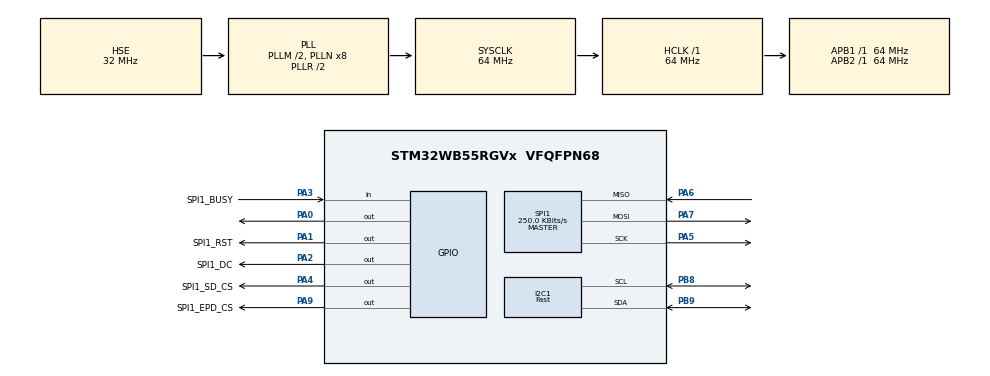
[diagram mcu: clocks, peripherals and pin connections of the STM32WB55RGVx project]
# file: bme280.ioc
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I2C1.I2C_Speed_Mode=I2C_Fast
I2C1.Timing=0x00C12166
Mcu.Family=STM32WB
Mcu.Name=STM32WB55RGVx
Mcu.Package=VFQFPN68
NUCLEO-WB55RG.BUTTON=1
NUCLEO-WB55RG.BUTTON2=1
NUCLEO-WB55RG.BUTTON3=1
NUCLEO-WB55RG.LD1=true
NUCLEO-WB55RG.LD2=true
NUCLEO-WB55RG.LD3=true
NUCLEO-WB55RG.VCP=true
NVIC.EXTI0_IRQn=true\:0\:0\:false\:false\:true\:false\:true\:true
NVIC.EXTI1_IRQn=true\:0\:0\:false\:false\:true\:false\:true\:true
NVIC.EXTI4_IRQn=true\:0\:0\:false\:false\:true\:false\:true\:true
NVIC.PriorityGroup=NVIC_PRIORITYGROUP_4
OSC_IN.GPIO_Label=RCC_OSC_IN
OSC_IN.Mode=HSE-External-Oscillator
OSC_IN.Signal=RCC_OSC_IN
OSC_OUT.GPIO_Label=RCC_OSC_OUT
OSC_OUT.Mode=HSE-External-Oscillator
OSC_OUT.Signal=RCC_OSC_OUT
PA0.Signal=GPIO_Output
PA1.GPIO_Label=SPI1_RST
PA1.Signal=GPIO_Output
PA11.GPIO_Label=USB_DM
PA11.Signal=USB_DM
PA12.GPIO_Label=USB_DP
PA12.Signal=USB_DP
PA13.GPIO_Label=JTMS
PA13.Signal=SYS_JTMS-SWDIO
PA14.GPIO_Label=JTCK
PA14.Signal=SYS_JTCK-SWCLK
PA2.GPIO_Label=SPI1_DC
PA2.Signal=GPIO_Output
PA3.GPIO_Label=SPI1_BUSY
PA3.Signal=GPIO_Input
PA4.GPIO_Label=SPI1_SD_CS
PA4.GPIO_PuPd=GPIO_PULLUP
PA4.PinState=GPIO_PIN_SET
PA4.Signal=GPIO_Output
PA5.Mode=Full_Duplex_Master
PA5.Signal=SPI1_SCK
PA6.Mode=Full_Duplex_Master
PA6.Signal=SPI1_MISO
PA7.Mode=Full_Duplex_Master
PA7.Signal=SPI1_MOSI
PA9.GPIO_Label=SPI1_EPD_CS
PA9.Signal=GPIO_Output
PB3.GPIO_Label=JTDO
PB3.Signal=SYS_JTDO-SWO
PB6.Signal=USART1_TX
PB7.Signal=USART1_RX
PB8.GPIO_FM8=SYSCFG_FASTMODEPLUS_PB8
PB8.Mode=I2C
PB8.Signal=I2C1_SCL
PB9.GPIO_FM9=SYSCFG_FASTMODEPLUS_PB9
PB9.Mode=I2C
PB9.Signal=I2C1_SDA
PC13.GPIO_Label=SYS_WKUP2
PC13.Signal=SYS_WKUP2
PC14-OSC32_IN.GPIO_Label=RCC_OSC32_IN
PC14-OSC32_IN.Mode=LSE-External-Oscillator
PC14-OSC32_IN.Signal=RCC_OSC32_IN
PC15-OSC32_OUT.GPIO_Label=RCC_OSC32_OUT
PC15-OSC32_OUT.Mode=LSE-External-Oscillator
PC15-OSC32_OUT.Signal=RCC_OSC32_OUT
ProjectManager.HeapSize=0x200
ProjectManager.StackSize=0x400
ProjectManager.TargetToolchain=CMake
RCC.ADCFreq_Value=64000000
RCC.AHB2CLKDivider=RCC_SYSCLK_DIV2
RCC.AHBFreq_Value=64000000
RCC.APB1Freq_Value=64000000
RCC.APB1TimFreq_Value=64000000
RCC.APB2Freq_Value=64000000
RCC.APB2TimFreq_Value=64000000
RCC.APB3Freq_Value=16000000
RCC.CortexFreq_Value=64000000
RCC.HCLKFreq_Value=64000000
RCC.HSE_VALUE=32000000
RCC.HSI48_VALUE=48000000
RCC.HSI_VALUE=16000000
RCC.MSIClockRange=RCC_MSIRANGE_10
RCC.PLLM=RCC_PLLM_DIV2
RCC.PLLSourceVirtual=RCC_PLLSOURCE_HSE
RCC.SMPSCLockSelection=RCC_SMPSCLKSOURCE_HSI
RCC.SMPSCLockSelectionVirtual=RCC_SMPSCLKSOURCE_HSI
RCC.SMPSCLockSelectionVirtualVirtual=RCC_SMPSCLKSOURCE_HSI
RCC.SMPSDivider=1
RCC.SYSCLKFreq_VALUE=64000000
RCC.SYSCLKSource=RCC_SYSCLKSOURCE_PLLCLK
RCC.USBFreq_Value=64000000
RCC.VCOOutputFreq_Value=128000000
SPI1.BaudRatePrescaler=SPI_BAUDRATEPRESCALER_256
SPI1.CalculateBaudRate=250.0 KBits/s
SPI1.DataSize=SPI_DATASIZE_8BIT
SPI1.Direction=SPI_DIRECTION_2LINES
SPI1.Mode=SPI_MODE_MASTER
SPI1.VirtualType=VM_MASTER
VP_MEMORYMAP_VS_MEMORYMAP.Mode=CurAppReg
VP_NUCLEO-WB55RG_VS_BSP_COMMON.Mode=COMMON
board=NUCLEO-WB55RG

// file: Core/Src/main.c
/* USER CODE BEGIN Header */
/**
  ******************************************************************************
  * @file           : main.c
  * @brief           : Main program body - sensor data on e-paper display
  ******************************************************************************
  ******************************************************************************
  */
/* USER CODE END Header */
#include "main.h"

/* USER CODE BEGIN Includes */
#include "bme280.h"
#include "mpu6050.h"
#include "veml7700.h"
#include "minimal_display.h"
#include "DEV_Config.h"
#include "EPD_2in9_V2.h"
#include "GUI_Paint.h"
#include "data_logger.h"
#include "app_fatfs.h"
#include <stdio.h>
#include <stdlib.h>
#include <math.h>
/* USER CODE END Includes */

/* USER CODE BEGIN PD */
/* runtime-configurable intervals (ms); will be settable via BLE */
static uint32_t meas_interval  = 10000;  /* sensor read + SD log */
static uint32_t disp_interval  = 10000;  /* e-paper refresh (temp: match meas) */
#define BME280_ADDR      (0x76 << 1)
/* USER CODE END PD */

COM_InitTypeDef BspCOMInit;
I2C_HandleTypeDef hi2c1;

SPI_HandleTypeDef hspi1;

/* USER CODE BEGIN PV */
BME280_Data_t bme280_data = {0};
MPU6050_Data_t mpu6050_data = {0};
VEML7700_Data_t veml7700_data = {0};
int bme280_ready = 0;
int mpu6050_ready = 0;
int veml7700_ready = 0;
/* USER CODE END PV */

void SystemClock_Config(void);
void PeriphCommonClock_Config(void);
static void MX_GPIO_Init(void);
static void MX_I2C1_Init(void);
static void MX_SPI1_Init(void);

int main(void)
{

  /* MCU Configuration--------------------------------------------------------*/

  /* Reset of all peripherals, Initializes the Flash interface and the Systick. */
  HAL_Init();

  /* Configure the system clock */
  SystemClock_Config();

  /* Configure the peripherals common clocks */
  PeriphCommonClock_Config();

  /* Initialize all configured peripherals */
  MX_GPIO_Init();
  MX_I2C1_Init();
  MX_SPI1_Init();
  /* USER CODE BEGIN 2 */

  HAL_GPIO_WritePin(SPI1_EPD_CS_GPIO_Port, SPI1_EPD_CS_Pin, GPIO_PIN_SET);
  HAL_GPIO_WritePin(SPI1_SD_CS_GPIO_Port, SPI1_SD_CS_Pin, GPIO_PIN_SET);

  BSP_LED_Init(LED_RED);   /* error indicator only */

  BspCOMInit.BaudRate   = 115200;
  BspCOMInit.WordLength = COM_WORDLENGTH_8B;
  BspCOMInit.StopBits   = COM_STOPBITS_1;
  BspCOMInit.Parity     = COM_PARITY_NONE;
  BspCOMInit.HwFlowCtl  = COM_HWCONTROL_NONE;
  if (BSP_COM_Init(COM1, &BspCOMInit) != BSP_ERROR_NONE)
  {
    Error_Handler();
  }

  printf("\r\n=== Tree Sentinel ===\r\n");

  /* ---- FatFS init ---- */
  if (MX_FATFS_Init() != APP_OK) {
    printf("FATFS_Init FAILED\r\n");
    Error_Handler();
  }
  printf("FATFS driver linked OK\r\n");

  /* ---- SD / data logger ---- */
  if (LOG_Init() == 0) {
    printf("SD card + CSV logger ready\r\n");
  } else {
    printf("No SD card — logging disabled\r\n");
  }

  /* ---- Sensor init ---- */
  int bme280_ok = (bme280_init(&hi2c1, BME280_ADDR) == HAL_OK);
  int mpu6050_ok = (MPU6050_Init(&hi2c1) == HAL_OK);
  int veml7700_ok = (VEML7700_Init(&hi2c1) == HAL_OK);
  printf("Sensors: BME280=%d MPU6050=%d VEML7700=%d\r\n",
         bme280_ok, mpu6050_ok, veml7700_ok);

  /* ---- EPD init ---- */
  DEV_Module_Init();
  DEV_Delay_ms(1000);
  printf("EPD ready\r\n");

  /* ---- Tilt: calibrate reference at startup (board upright) ---- */
  MPU6050_Data_t mpu_data;
  float tilt_ref[3] = {0, 0, 0}, tilt_deg = 0.0f;
  if (mpu6050_ok) {
    MPU6050_ReadData(&hi2c1, &mpu_data);
    tilt_ref[0] = (float)mpu_data.ax / 16384.0f;
    tilt_ref[1] = (float)mpu_data.ay / 16384.0f;
    tilt_ref[2] = (float)mpu_data.az / 16384.0f;
  }

  uint32_t last_meas = 0, last_disp = 0;
  float temp = 0, hum = 0, lux = 0;
  uint32_t pres = 0;
  VEML7700_Data_t vdata = {0};

  /* USER CODE END 2 */

  /* Infinite loop */
  /* USER CODE BEGIN WHILE */
  while (1)
  {
    uint32_t now = HAL_GetTick();

    /* ---- read sensors + log SD (every meas_interval) ---- */
    if (now - last_meas >= meas_interval)
    {
      last_meas = now;

      /* BME280 */
      if (bme280_ok) {
        bme280_read_compensated(&hi2c1, BME280_ADDR, &temp, &pres, &hum);
      }

      /* MPU-6050 tilt */
      if (mpu6050_ok) {
        MPU6050_ReadData(&hi2c1, &mpu_data);
        float ax = (float)mpu_data.ax / 16384.0f;
        float ay = (float)mpu_data.ay / 16384.0f;
        float az = (float)mpu_data.az / 16384.0f;
        float dot = ax*tilt_ref[0] + ay*tilt_ref[1] + az*tilt_ref[2];
        float na = sqrtf(ax*ax + ay*ay + az*az);
        float nr = sqrtf(tilt_ref[0]*tilt_ref[0]
                       + tilt_ref[1]*tilt_ref[1]
                       + tilt_ref[2]*tilt_ref[2]);
        float cos_a = dot / (na * nr);
        if (cos_a > 1.0f) cos_a = 1.0f;
        if (cos_a < -1.0f) cos_a = -1.0f;
        tilt_deg = acosf(cos_a) * 57.29578f;
      }

      /* VEML7700 */
      if (veml7700_ok) {
        VEML7700_ReadALS(&hi2c1, &vdata);
        lux = vdata.lux;
      }

      /* restore SPI pins to AF mode (EPD bit-bangs them) */
      DEV_SPI_Init();

      /* Log to SD */
      BME280_Data_t bme = { .temperature = temp,
                            .pressure = pres,
                            .humidity = hum };
      LOG_Sample(&bme, tilt_deg, &vdata);
    }

    /* ---- refresh e-paper (every disp_interval) ---- */
    if (now - last_disp >= disp_interval)
    {
      last_disp = now;

      char l1[32], l2[32], l3[32], l4[32], l5[32];
      snprintf(l1, sizeof(l1), "Tree Sentinel");
      snprintf(l2, sizeof(l2), "T=%.1fC  P=%luPa", (double)temp, (unsigned long)pres);
      snprintf(l3, sizeof(l3), "H=%.0f%%  L=%.0flx", (double)hum, (double)lux);
      snprintf(l4, sizeof(l4), "Tilt=%.1fdeg", (double)tilt_deg);
      snprintf(l5, sizeof(l5), "SD:%s", LOG_IsReady() ? "OK" : "NO");
      Display_SensorData(l1, l2, l3, l4, l5);
    }

    /* USER CODE END WHILE */

  }
}

void SystemClock_Config(void)
{
  RCC_OscInitTypeDef RCC_OscInitStruct = {0};
  RCC_ClkInitTypeDef RCC_ClkInitStruct = {0};

  /** Configure the main internal regulator output voltage
  */
  __HAL_PWR_VOLTAGESCALING_CONFIG(PWR_REGULATOR_VOLTAGE_SCALE1);

  /** Initializes the RCC Oscillators according to the specified parameters
  * in the RCC_OscInitTypeDef structure.
  */
  RCC_OscInitStruct.OscillatorType = RCC_OSCILLATORTYPE_HSI|RCC_OSCILLATORTYPE_HSE;
  RCC_OscInitStruct.HSEState = RCC_HSE_ON;
  RCC_OscInitStruct.HSIState = RCC_HSI_ON;
  RCC_OscInitStruct.HSICalibrationValue = RCC_HSICALIBRATION_DEFAULT;
  RCC_OscInitStruct.PLL.PLLState = RCC_PLL_ON;
  RCC_OscInitStruct.PLL.PLLSource = RCC_PLLSOURCE_HSE;
  RCC_OscInitStruct.PLL.PLLM = RCC_PLLM_DIV2;
  RCC_OscInitStruct.PLL.PLLN = 8;
  RCC_OscInitStruct.PLL.PLLP = RCC_PLLP_DIV2;
  RCC_OscInitStruct.PLL.PLLR = RCC_PLLR_DIV2;
  RCC_OscInitStruct.PLL.PLLQ = RCC_PLLQ_DIV2;
  if (HAL_RCC_OscConfig(&RCC_OscInitStruct) != HAL_OK)
  {
    Error_Handler();
  }

  /** Configure the SYSCLKSource, HCLK, PCLK1 and PCLK2 clocks dividers
  */
  RCC_ClkInitStruct.ClockType = RCC_CLOCKTYPE_HCLK4|RCC_CLOCKTYPE_HCLK2
                              |RCC_CLOCKTYPE_HCLK|RCC_CLOCKTYPE_SYSCLK
                              |RCC_CLOCKTYPE_PCLK1|RCC_CLOCKTYPE_PCLK2;
  RCC_ClkInitStruct.SYSCLKSource = RCC_SYSCLKSOURCE_PLLCLK;
  RCC_ClkInitStruct.AHBCLKDivider = RCC_SYSCLK_DIV1;
  RCC_ClkInitStruct.APB1CLKDivider = RCC_HCLK_DIV1;
  RCC_ClkInitStruct.APB2CLKDivider = RCC_HCLK_DIV1;
  RCC_ClkInitStruct.AHBCLK2Divider = RCC_SYSCLK_DIV2;
  RCC_ClkInitStruct.AHBCLK4Divider = RCC_SYSCLK_DIV1;

  if (HAL_RCC_ClockConfig(&RCC_ClkInitStruct, FLASH_LATENCY_3) != HAL_OK)
  {
    Error_Handler();
  }
}

void PeriphCommonClock_Config(void)
{
  RCC_PeriphCLKInitTypeDef PeriphClkInitStruct = {0};

  /** Initializes the peripherals clock
  */
  PeriphClkInitStruct.PeriphClockSelection = RCC_PERIPHCLK_SMPS;
  PeriphClkInitStruct.SmpsClockSelection = RCC_SMPSCLKSOURCE_HSI;
  PeriphClkInitStruct.SmpsDivSelection = RCC_SMPSCLKDIV_RANGE0;

  if (HAL_RCCEx_PeriphCLKConfig(&PeriphClkInitStruct) != HAL_OK)
  {
    Error_Handler();
  }
}

static void MX_I2C1_Init(void)
{

  hi2c1.Instance = I2C1;
  hi2c1.Init.Timing = 0x00C12166;
  hi2c1.Init.OwnAddress1 = 0;
  hi2c1.Init.AddressingMode = I2C_ADDRESSINGMODE_7BIT;
  hi2c1.Init.DualAddressMode = I2C_DUALADDRESS_DISABLE;
  hi2c1.Init.OwnAddress2 = 0;
  hi2c1.Init.OwnAddress2Masks = I2C_OA2_NOMASK;
  hi2c1.Init.GeneralCallMode = I2C_GENERALCALL_DISABLE;
  hi2c1.Init.NoStretchMode = I2C_NOSTRETCH_DISABLE;
  if (HAL_I2C_Init(&hi2c1) != HAL_OK)
  {
    Error_Handler();
  }

  /** Configure Analogue filter
  */
  if (HAL_I2CEx_ConfigAnalogFilter(&hi2c1, I2C_ANALOGFILTER_ENABLE) != HAL_OK)
  {
    Error_Handler();
  }

  /** Configure Digital filter
  */
  if (HAL_I2CEx_ConfigDigitalFilter(&hi2c1, 0) != HAL_OK)
  {
    Error_Handler();
  }

}

static void MX_SPI1_Init(void)
{

  /* SPI1 parameter configuration*/
  hspi1.Instance = SPI1;
  hspi1.Init.Mode = SPI_MODE_MASTER;
  hspi1.Init.Direction = SPI_DIRECTION_2LINES;
  hspi1.Init.DataSize = SPI_DATASIZE_8BIT;
  hspi1.Init.CLKPolarity = SPI_POLARITY_LOW;
  hspi1.Init.CLKPhase = SPI_PHASE_1EDGE;
  hspi1.Init.NSS = SPI_NSS_SOFT;
  hspi1.Init.BaudRatePrescaler = SPI_BAUDRATEPRESCALER_256;
  hspi1.Init.FirstBit = SPI_FIRSTBIT_MSB;
  hspi1.Init.TIMode = SPI_TIMODE_DISABLE;
  hspi1.Init.CRCCalculation = SPI_CRCCALCULATION_DISABLE;
  hspi1.Init.CRCPolynomial = 7;
  hspi1.Init.CRCLength = SPI_CRC_LENGTH_DATASIZE;
  hspi1.Init.NSSPMode = SPI_NSS_PULSE_ENABLE;
  if (HAL_SPI_Init(&hspi1) != HAL_OK)
  {
    Error_Handler();
  }
  /* USER CODE BEGIN SPI1_Init 2 */
  /* SD card needs ≤ 400 kHz for init, 4 MHz for data */
  hspi1.Init.BaudRatePrescaler = SPI_BAUDRATEPRESCALER_16;
  HAL_SPI_Init(&hspi1);
  /* USER CODE END SPI1_Init 2 */

}

static void MX_GPIO_Init(void)
{
  GPIO_InitTypeDef GPIO_InitStruct = {0};

  /* GPIO Ports Clock Enable */
  __HAL_RCC_GPIOC_CLK_ENABLE();
  __HAL_RCC_GPIOB_CLK_ENABLE();
  __HAL_RCC_GPIOA_CLK_ENABLE();

  /*Configure GPIO pin Output Level */
  HAL_GPIO_WritePin(GPIOA, GPIO_PIN_0|SPI1_RST_Pin|SPI1_DC_Pin|SPI1_EPD_CS_Pin, GPIO_PIN_RESET);

  /*Configure GPIO pin Output Level */
  HAL_GPIO_WritePin(SPI1_SD_CS_GPIO_Port, SPI1_SD_CS_Pin, GPIO_PIN_SET);

  /*Configure GPIO pins : PA0 SPI1_RST_Pin SPI1_DC_Pin SPI1_EPD_CS_Pin */
  GPIO_InitStruct.Pin = GPIO_PIN_0|SPI1_RST_Pin|SPI1_DC_Pin|SPI1_EPD_CS_Pin;
  GPIO_InitStruct.Mode = GPIO_MODE_OUTPUT_PP;
  GPIO_InitStruct.Pull = GPIO_NOPULL;
  GPIO_InitStruct.Speed = GPIO_SPEED_FREQ_LOW;
  HAL_GPIO_Init(GPIOA, &GPIO_InitStruct);

  /*Configure GPIO pin : SPI1_BUSY_Pin */
  GPIO_InitStruct.Pin = SPI1_BUSY_Pin;
  GPIO_InitStruct.Mode = GPIO_MODE_INPUT;
  GPIO_InitStruct.Pull = GPIO_NOPULL;
  HAL_GPIO_Init(SPI1_BUSY_GPIO_Port, &GPIO_InitStruct);

  /*Configure GPIO pin : SPI1_SD_CS_Pin */
  GPIO_InitStruct.Pin = SPI1_SD_CS_Pin;
  GPIO_InitStruct.Mode = GPIO_MODE_OUTPUT_PP;
  GPIO_InitStruct.Pull = GPIO_PULLUP;
  GPIO_InitStruct.Speed = GPIO_SPEED_FREQ_LOW;
  HAL_GPIO_Init(SPI1_SD_CS_GPIO_Port, &GPIO_InitStruct);

  /*Configure GPIO pins : USB_DM_Pin USB_DP_Pin */
  GPIO_InitStruct.Pin = USB_DM_Pin|USB_DP_Pin;
  GPIO_InitStruct.Mode = GPIO_MODE_AF_PP;
  GPIO_InitStruct.Pull = GPIO_NOPULL;
  GPIO_InitStruct.Speed = GPIO_SPEED_FREQ_LOW;
  GPIO_InitStruct.Alternate = GPIO_AF10_USB;
  HAL_GPIO_Init(GPIOA, &GPIO_InitStruct);

  /* USER CODE BEGIN MX_GPIO_Init_2 */
  /* MPU-6050 INT (PH1) */
  __HAL_RCC_GPIOH_CLK_ENABLE();
  GPIO_InitStruct.Pin = GPIO_PIN_1;
  GPIO_InitStruct.Mode = GPIO_MODE_INPUT;
  GPIO_InitStruct.Pull = GPIO_PULLDOWN;
  HAL_GPIO_Init(GPIOH, &GPIO_InitStruct);
  /* USER CODE END MX_GPIO_Init_2 */
}

void Error_Handler(void)
{
  /* USER CODE BEGIN Error_Handler_Debug */
  /* User can add his own implementation to report the HAL error return state */
  __disable_irq();
  while (1)
  {
    BSP_LED_Toggle(LED_RED);
    HAL_Delay(100);
  }
  /* USER CODE END Error_Handler_Debug */
}
